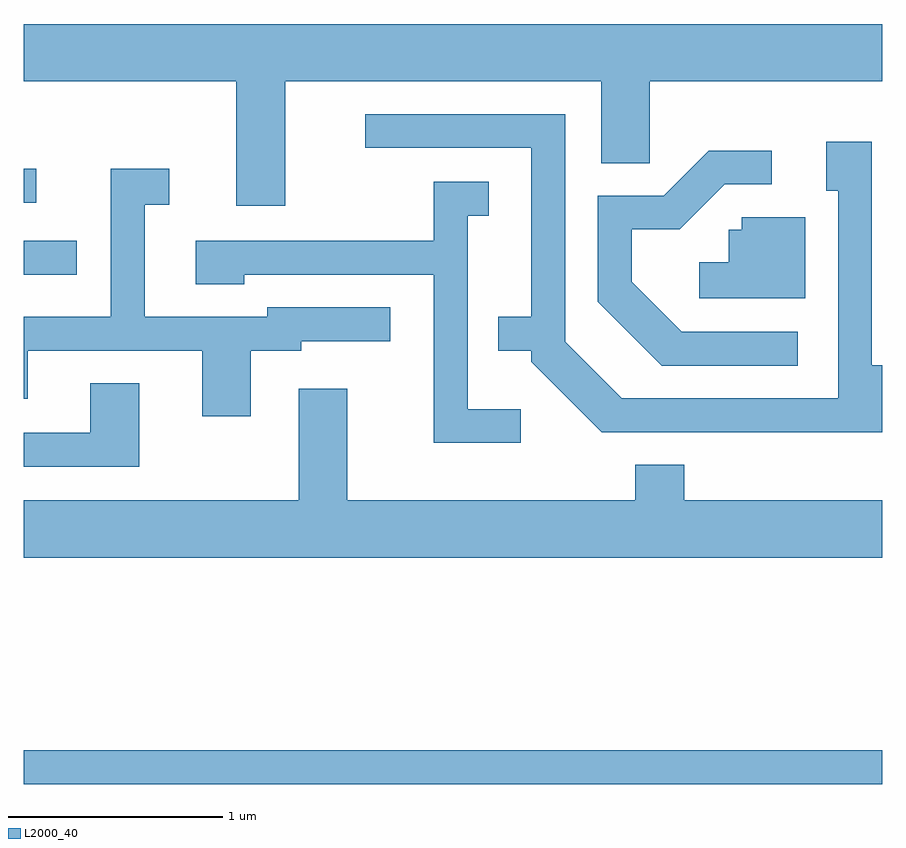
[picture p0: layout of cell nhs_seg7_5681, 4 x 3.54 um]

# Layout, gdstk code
import gdstk
lib = gdstk.Library(unit=1e-6, precision=1e-09)
def R(c, l, rs):  # rectangles x0, y0, x1, y1
    for r in rs: c.add(gdstk.rectangle(r[:2], r[2:], *l))
def P(c, l, *ps):  # polygons
    for p in ps: c.add(gdstk.Polygon(p, *l))
L2000_40 = (2000, 40)

nhs_seg7_5681 = lib.new_cell('nhs_seg7_5681')
R(nhs_seg7_5681, L2000_40, [(359.611,1686.621,363.611,1686.779), (359.611,1688.996,359.858,1689.154), (359.611,1689.331,359.668,1689.489)])
P(nhs_seg7_5681, L2000_40, [(360.829,1689.896),(362.301,1689.896),(362.301,1689.516),(362.529,1689.516),(362.529,1689.896),(363.611,1689.896),(363.611,1690.164),(359.611,1690.164),(359.611,1689.896),(360.601,1689.896),(360.601,1689.316),(360.829,1689.316)],
  [(363.611,1688.574),(363.564,1688.574),(363.564,1689.614),(363.351,1689.614),(363.351,1689.386),(363.406,1689.386),(363.406,1688.419),(362.397,1688.419),(362.134,1688.682),(362.134,1689.744),(361.203,1689.744),(361.203,1689.586),(361.976,1689.586),(361.976,1688.799),(361.823,1688.799),(361.823,1688.641),(361.976,1688.641),(361.976,1688.589),(362.304,1688.261),(363.611,1688.261)],
  [(363.218,1688.729),(362.677,1688.729),(362.444,1688.962),(362.444,1689.206),(362.667,1689.206),(362.877,1689.416),(363.098,1689.416),(363.098,1689.574),(362.804,1689.574),(362.594,1689.364),(362.286,1689.364),(362.286,1688.869),(362.584,1688.571),(363.218,1688.571)],
  [(360.669,1688.641),(360.904,1688.641),(360.904,1688.686),(361.318,1688.686),(361.318,1688.844),(360.746,1688.844),(360.746,1688.799),(360.174,1688.799),(360.174,1689.321),(360.288,1689.321),(360.288,1689.489),(360.016,1689.489),(360.016,1688.799),(359.611,1688.799),(359.611,1688.416),(359.629,1688.416),(359.629,1688.641),(360.441,1688.641),(360.441,1688.336),(360.669,1688.336)],
  [(361.928,1688.369),(361.679,1688.369),(361.679,1689.271),(361.778,1689.271),(361.778,1689.429),(361.521,1689.429),(361.521,1689.154),(360.411,1689.154),(360.411,1688.951),(360.639,1688.951),(360.639,1688.996),(361.521,1688.996),(361.521,1688.211),(361.928,1688.211)],
  [(363.254,1689.264),(362.956,1689.264),(362.956,1689.204),(362.896,1689.204),(362.896,1689.054),(362.758,1689.054),(362.758,1688.886),(363.254,1688.886)],
  [(360.149,1688.489),(359.921,1688.489),(359.921,1688.259),(359.611,1688.259),(359.611,1688.101),(360.149,1688.101)],
  [(363.611,1687.944),(362.689,1687.944),(362.689,1688.109),(362.461,1688.109),(362.461,1687.944),(361.119,1687.944),(361.119,1688.464),(360.891,1688.464),(360.891,1687.944),(359.611,1687.944),(359.611,1687.676),(363.611,1687.676)])

lib.write_gds('nhs_seg7_5681.gds')
